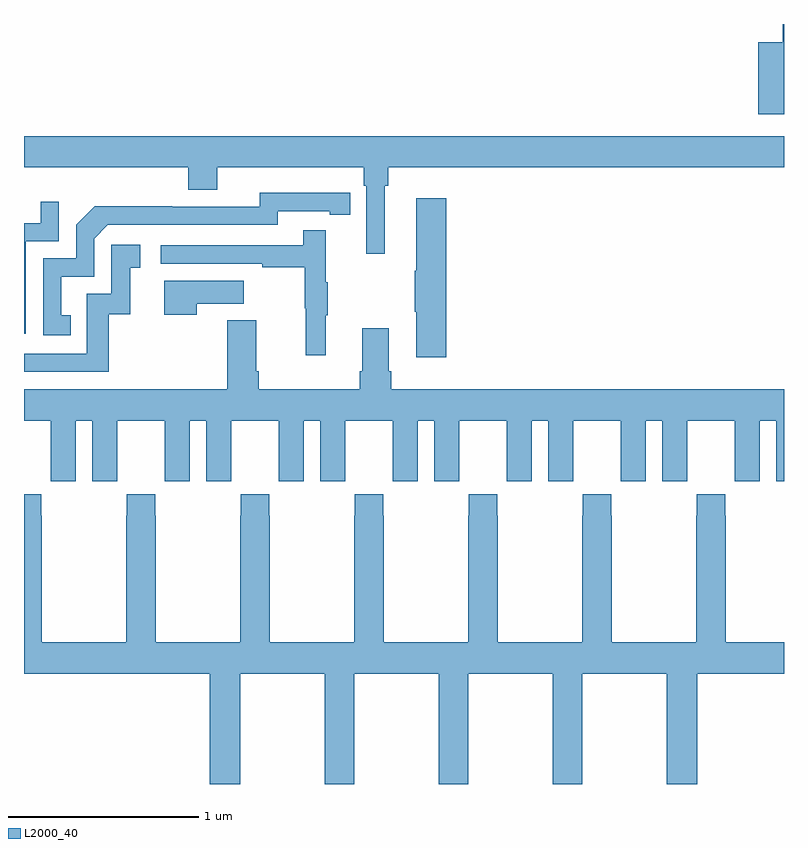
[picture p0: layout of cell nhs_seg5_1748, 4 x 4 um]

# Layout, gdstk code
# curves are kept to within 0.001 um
import gdstk
lib = gdstk.Library(unit=1e-6, precision=1e-09)
def P(c, l, *ps):  # polygons
    for p in ps: c.add(gdstk.Polygon(p, *l))
L2000_40 = (2000, 40)

nhs_seg5_1748 = lib.new_cell('nhs_seg5_1748')
P(nhs_seg5_1748, L2000_40, [(219,906.799),(218.994,906.799),(218.994,906.703),(218.864,906.703),(218.864,906.323),(219,906.323)],
  [(216.898,905.948),(216.917,905.948),(216.917,906.044),(219,906.044),(219,906.208),(215,906.208),(215,906.044),(215.864,906.044),(215.864,905.927),(216.016,905.927),(216.016,906.044),(216.788,906.044),(216.788,905.948),(216.801,905.948),(216.801,905.589),(216.898,905.589)],
  [(215.246,905.265),(215.197,905.265),(215.197,905.469),(215.37,905.469),(215.37,905.67),(215.442,905.742),(216.336,905.742),(216.336,905.814),(216.608,905.814),(216.608,905.794),(216.716,905.794),(216.716,905.91),(216.24,905.911),(216.24,905.838),(215.78,905.838),(215.78,905.84),(215.372,905.84),(215.274,905.742),(215.274,905.565),(215.1,905.565),(215.1,905.16),(215.246,905.16)],
  [(217.223,905.881),(217.064,905.881),(217.064,905.501),(217.057,905.501),(217.057,905.284),(217.064,905.284),(217.064,905.046),(217.223,905.046)],
  [(215.01,905.655),(215.184,905.655),(215.184,905.863),(215.087,905.863),(215.087,905.751),(215,905.751),(215,905.169),(215.01,905.169)],
  [(216.587,905.267),(216.598,905.267),(216.598,905.441),(216.587,905.441),(216.587,905.713),(216.469,905.713),(216.469,905.634),(215.721,905.634),(215.721,905.538),(216.253,905.538),(216.253,905.518),(216.477,905.518),(216.477,905.304),(216.484,905.304),(216.484,905.055),(216.587,905.055)],
  [(215.447,905.271),(215.558,905.271),(215.558,905.517),(215.611,905.517),(215.611,905.638),(215.46,905.638),(215.46,905.379),(215.331,905.379),(215.331,905.064),(215,905.064),(215,904.968),(215.447,904.968)],
  [(215.909,905.327),(216.157,905.327),(216.157,905.449),(215.738,905.449),(215.738,905.268),(215.909,905.268)],
  [(215,904.712),(215.141,904.712),(215.141,904.504),(215.142,904.504),(215.142,904.392),(215.272,904.392),(215.272,904.712),(215.36,904.712),(215.36,904.392),(215.49,904.392),(215.49,904.504),(215.491,904.504),(215.491,904.712),(215.741,904.712),(215.741,904.504),(215.742,904.504),(215.742,904.392),(215.872,904.392),(215.872,904.712),(215.96,904.712),(215.96,904.392),(216.09,904.392),(216.09,904.504),(216.091,904.504),(216.091,904.712),(216.341,904.712),(216.341,904.504),(216.342,904.504),(216.342,904.392),(216.472,904.392),(216.472,904.712),(216.56,904.712),(216.56,904.392),(216.69,904.392),(216.69,904.504),(216.691,904.504),(216.691,904.712),(216.941,904.712),(216.941,904.504),(216.942,904.504),(216.942,904.392),(217.072,904.392),(217.072,904.712),(217.16,904.712),(217.16,904.392),(217.29,904.392),(217.29,904.504),(217.291,904.504),(217.291,904.712),(217.541,904.712),(217.541,904.504),(217.542,904.504),(217.542,904.392),(217.672,904.392),(217.672,904.712),(217.76,904.712),(217.76,904.392),(217.89,904.392),(217.89,904.504),(217.891,904.504),(217.891,904.712),(218.141,904.712),(218.141,904.504),(218.142,904.504),(218.142,904.392),(218.272,904.392),(218.272,904.712),(218.36,904.712),(218.36,904.392),(218.49,904.392),(218.49,904.504),(218.491,904.504),(218.491,904.712),(218.741,904.712),(218.741,904.504),(218.742,904.504),(218.742,904.392),(218.872,904.392),(218.872,904.712),(218.96,904.712),(218.96,904.392),(219,904.392),(219,904.876),(216.932,904.876),(216.932,904.972),(216.919,904.972),(216.919,905.197),(216.779,905.197),(216.779,904.972),(216.767,904.972),(216.767,904.876),(216.236,904.876),(216.236,904.972),(216.223,904.972),(216.223,905.239),(216.071,905.239),(216.071,904.876),(215,904.876)],
  [(216.138,903.38),(216.583,903.38),(216.583,902.799),(216.738,902.799),(216.738,903.38),(217.183,903.38),(217.183,902.799),(217.338,902.799),(217.338,903.38),(217.783,903.38),(217.783,902.799),(217.938,902.799),(217.938,903.38),(218.383,903.38),(218.383,902.799),(218.543,902.799),(218.543,903.38),(219,903.38),(219,903.544),(218.694,903.544),(218.694,904.211),(218.691,904.211),(218.691,904.324),(218.541,904.324),(218.541,904.211),(218.539,904.211),(218.539,903.544),(218.094,903.544),(218.094,904.211),(218.091,904.211),(218.091,904.324),(217.941,904.324),(217.941,904.211),(217.939,904.211),(217.939,903.544),(217.494,903.544),(217.494,904.211),(217.491,904.211),(217.491,904.324),(217.341,904.324),(217.341,904.211),(217.339,904.211),(217.339,903.544),(216.894,903.544),(216.894,904.211),(216.891,904.211),(216.891,904.324),(216.741,904.324),(216.741,904.211),(216.739,904.211),(216.739,903.544),(216.294,903.544),(216.294,904.211),(216.291,904.211),(216.291,904.324),(216.141,904.324),(216.141,904.211),(216.139,904.211),(216.139,903.544),(215.694,903.544),(215.694,904.211),(215.691,904.211),(215.691,904.324),(215.541,904.324),(215.541,904.211),(215.539,904.211),(215.539,903.544),(215.094,903.544),(215.094,904.211),(215.091,904.211),(215.091,904.324),(215,904.324),(215,903.38),(215.978,903.38),(215.978,902.799),(216.138,902.799)])

lib.write_gds('nhs_seg5_1748.gds')
